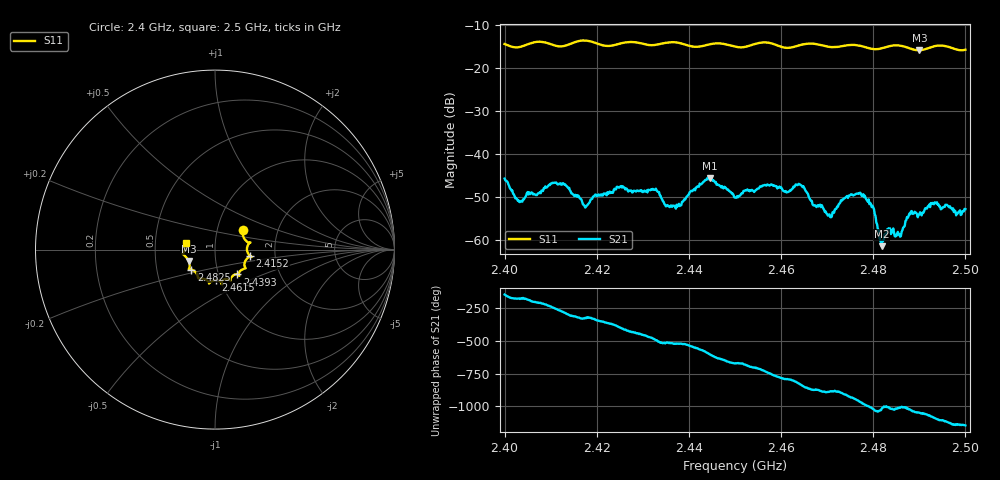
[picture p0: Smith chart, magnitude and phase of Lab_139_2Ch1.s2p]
# Hz S RI R 50
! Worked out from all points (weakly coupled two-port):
!   601 points, 2.4 GHz to 2.5 GHz, reference 50 ohm
!   highest |S21| = -45.50 dB at 2.4445 GHz (marker M1); lowest = -61.3 dB at 2.4818 GHz (marker M2)
!   lowest |S11| = -15.9 dB at 2.49 GHz (marker M3), VSWR 1.38, Z = 36.9 - j4.75 ohm
!   |S11| at or under -10 dB: start of sweep to end of sweep
!   S12 and S22 are empty: the file has one direction only
!   S11 on the Smith chart (normalised r, x): 2.4 GHz: 1.33, +0.30; 2.4152 GHz: 1.48, -0.11; 2.4393 GHz: 1.23, -0.35; 2.4615 GHz: 0.95, -0.33; 2.4825 GHz: 0.75, -0.17; 2.5 GHz: 0.72, +0.05
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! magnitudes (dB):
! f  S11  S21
! 2.4 GHz  -14.4  -45.6
! 2.4033 GHz  -15.1  -51.1
! 2.4107 GHz  -14.7  -46.6
! 2.4152 GHz  -14.0  -49.7
! 2.4167 GHz  -13.6  -50.5
! 2.4333 GHz  -14.5  -48.7
! 2.4353 GHz  -14.1  -51.8
! 2.4393 GHz  -14.6  -50.2
! 2.4445 GHz  -14.5  -45.5
! 2.45 GHz  -15.0  -50.0
! 2.4615 GHz  -15.3  -48.8
! 2.4643 GHz  -14.6  -47.2
! 2.4667 GHz  -14.3  -50.8
! 2.4705 GHz  -15.1  -53.9
! 2.4777 GHz  -15.0  -49.5
! 2.4798 GHz  -15.6  -52.0
! 2.4818 GHz  -15.4  -61.3
! 2.4825 GHz  -15.2  -58.5
! 2.4833 GHz  -15.0  -57.2
! 2.49 GHz  -15.9  -54.0
! 2.4933 GHz  -14.9  -51.2
! 2.5 GHz  -15.8  -52.7
